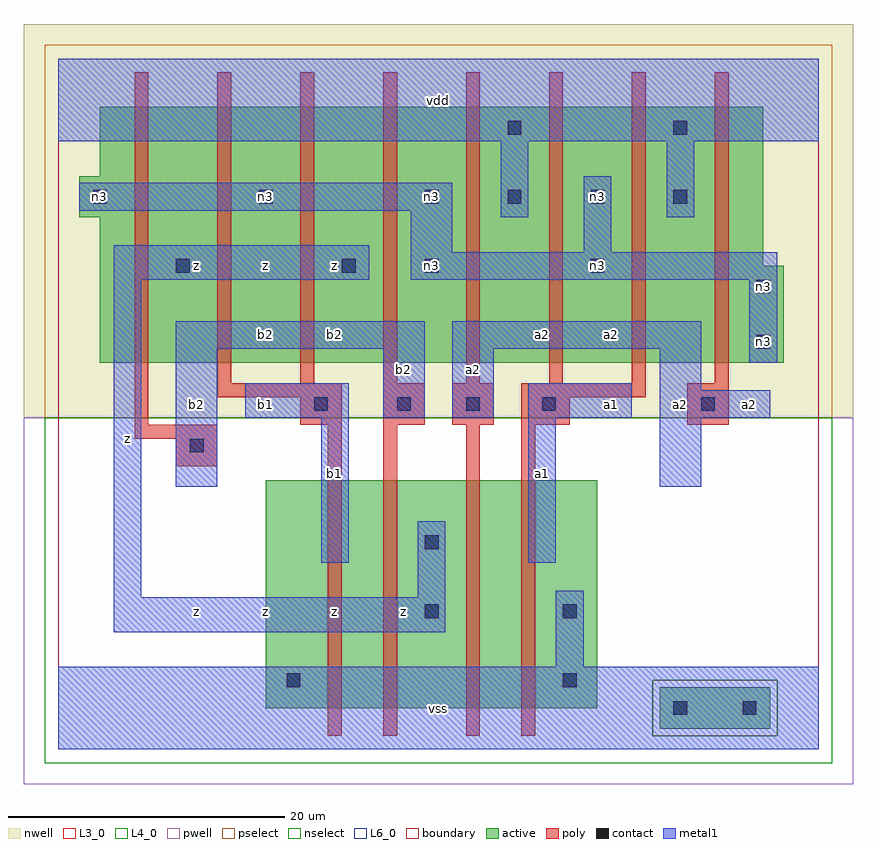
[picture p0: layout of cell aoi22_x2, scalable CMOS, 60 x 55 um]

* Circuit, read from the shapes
.subckt aoi22_x2 a1 a2 b1 b2 n3 vdd vss z
M1 n1 b1 vss vss nfet w=16.5u l=1u
M2 z b2 n1 vss nfet w=16.5u l=1u
M3 n2 a2 z vss nfet w=16.5u l=1u
M4 vss a1 n2 vss nfet w=16.5u l=1u
M5 z b2 n3 n4 pfet w=18.5u l=1u m=2
M6 n3 b1 z n4 pfet w=18.5u l=1u m=2
M7 vdd a2 n3 n4 pfet w=18.5u l=1u m=2
M8 n3 a1 vdd n4 pfet w=18.5u l=1u m=2
.ends

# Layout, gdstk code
import gdstk
lib = gdstk.Library(unit=1e-6, precision=1e-09)
def R(c, l, rs):  # rectangles x0, y0, x1, y1
    for r in rs: c.add(gdstk.rectangle(r[:2], r[2:], *l))
def A(c, l, x, y, w, h, nx, ny, dx, dy):  # array of equal rectangles
    R(c, l, [(x+i*dx, y+j*dy, x+i*dx+w, y+j*dy+h) for i in range(nx) for j in range(ny)])
L3_0 = (3, 0)
L4_0 = (4, 0)
L6_0 = (6, 0)
contact = (25, 0)
pwell = (41, 0)
nwell = (42, 0)
active = (43, 0)
pselect = (44, 0)
nselect = (45, 0)
poly = (46, 0)
metal1 = (49, 0)
boundary = (63, 0)

aoi22_x2 = lib.new_cell('aoi22_x2')
R(aoi22_x2, L3_0, [(15,3,39,19.5)])
R(aoi22_x2, L4_0, [(3,28,52.5,35), (3,35,51,38.5), (1.5,38.5,51,41.5), (3,41.5,51,46.5)])
R(aoi22_x2, L6_0, [(43.5,1.5,51.5,4.5)])
A(aoi22_x2, contact, 2.5, 39.5, 1, 1, 3, 1, 12, 0)
A(aoi22_x2, contact, 32.5, 39.5, 1, 1, 3, 1, 6, 0)
R(aoi22_x2, contact, [(44.5,2.5,45.5,3.5), (49.5,2.5,50.5,3.5), (16.5,4.5,17.5,5.5), (36.5,4.5,37.5,5.5), (26.5,9.5,27.5,10.5), (36.5,9.5,37.5,10.5), (26.5,14.5,27.5,15.5), (9.5,21.5,10.5,22.5), (18.5,24.5,19.5,25.5), (24.5,24.5,25.5,25.5), (29.5,24.5,30.5,25.5), (35,24.5,36,25.5), (46.5,24.5,47.5,25.5), (50.5,29,51.5,30), (50.5,33,51.5,34), (8.5,34.5,9.5,35.5), (20.5,34.5,21.5,35.5), (26.5,34.5,27.5,35.5), (38.5,34.5,39.5,35.5), (32.5,44.5,33.5,45.5), (44.5,44.5,45.5,45.5)])
R(aoi22_x2, pwell, [(-2.5,-2.5,57.5,24)])
R(aoi22_x2, nwell, [(-2.5,24,57.5,52.5)])
R(aoi22_x2, active, [(43.5,1.5,51.5,4.5), (15,3,39,19.5), (3,28,52.5,35), (3,35,51,38.5), (1.5,38.5,51,41.5), (3,41.5,51,46.5)])
R(aoi22_x2, pselect, [(43,1,52,5), (-1,24,56,51)])
R(aoi22_x2, nselect, [(-1,-1,56,1), (-1,1,43,5), (52,1,56,5), (-1,5,56,24)])
A(aoi22_x2, poly, 11.5, 26.5, 1, 22.5, 7, 1, 6, 0)
R(aoi22_x2, poly, [(19.5,1,20.5,23.5), (23.5,1,24.5,23.5), (29.5,1,30.5,23.5), (33.5,1,34.5,23.5), (8.5,20.5,11.5,22.5), (5.5,22.5,11.5,23.5), (5.5,23.5,6.5,49), (17.5,23.5,20.5,25.5), (23.5,23.5,26.5,26.5), (28.5,23.5,31.5,26.5), (33.5,23.5,37,25.5), (45.5,23.5,48.5,26.5), (11.5,25.5,20.5,26.5), (33.5,25.5,42.5,26.5)])
R(aoi22_x2, metal1, [(0,0,55,6), (0,0,55,6), (36,6,38,11.5), (36,6,38,11.5), (4,8.5,28,11), (4,8.5,28,11), (4,11,6,34), (4,11,6,34), (26,11,28,16.5), (26,11,28,16.5), (19,13.5,21,24), (19,13.5,21,24), (34,13.5,36,24), (34,13.5,36,24), (8.5,19,11.5,29), (8.5,19,11.5,29), (43.5,19,46.5,24), (43.5,19,46.5,24), (13.5,24,21,26.5), (13.5,24,21,26.5), (23.5,24,26.5,29), (23.5,24,26.5,29), (28.5,24,31.5,29), (28.5,24,31.5,29), (34,24,41.5,26.5), (34,24,41.5,26.5), (43.5,24,51.5,26), (43.5,24,51.5,26), (43.5,26,46.5,29), (43.5,26,46.5,29), (50,28,52,34), (50,28,52,34), (8.5,29,26.5,31), (8.5,29,26.5,31), (28.5,29,46.5,31), (28.5,29,46.5,31), (4,34,22.5,36.5), (4,34,22.5,36.5), (25.5,34,52,36), (25.5,34,52,36), (25.5,36,28.5,39), (25.5,36,28.5,39), (38,36,40,41.5), (38,36,40,41.5), (32,38.5,34,44), (32,38.5,34,44), (44,38.5,46,44), (44,38.5,46,44), (1.5,39,28.5,41), (1.5,39,28.5,41), (0,44,55,50), (0,44,55,50)])
R(aoi22_x2, boundary, [(0,0,55,50)])
aoi22_x2.add(gdstk.Label('n3', (3,40), layer=49, texttype=0))
aoi22_x2.add(gdstk.Label('n3', (15,40), layer=49, texttype=0))
aoi22_x2.add(gdstk.Label('n3', (27,35), layer=49, texttype=0))
aoi22_x2.add(gdstk.Label('n3', (27,40), layer=49, texttype=0))
aoi22_x2.add(gdstk.Label('n3', (51,33.5), layer=49, texttype=0))
aoi22_x2.add(gdstk.Label('n3', (51,29.5), layer=49, texttype=0))
aoi22_x2.add(gdstk.Label('n3', (39,35), layer=49, texttype=0))
aoi22_x2.add(gdstk.Label('n3', (39,40), layer=49, texttype=0))
aoi22_x2.add(gdstk.Label('z', (5,22.5), layer=49, texttype=0))
aoi22_x2.add(gdstk.Label('z', (20,10), layer=49, texttype=0))
aoi22_x2.add(gdstk.Label('z', (15,10), layer=49, texttype=0))
aoi22_x2.add(gdstk.Label('z', (10,10), layer=49, texttype=0))
aoi22_x2.add(gdstk.Label('b1', (20,20), layer=49, texttype=0))
aoi22_x2.add(gdstk.Label('b2', (10,25), layer=49, texttype=0))
aoi22_x2.add(gdstk.Label('b1', (15,25), layer=49, texttype=0))
aoi22_x2.add(gdstk.Label('b2', (20,30), layer=49, texttype=0))
aoi22_x2.add(gdstk.Label('b2', (15,30), layer=49, texttype=0))
aoi22_x2.add(gdstk.Label('z', (10,35), layer=49, texttype=0))
aoi22_x2.add(gdstk.Label('z', (20,35), layer=49, texttype=0))
aoi22_x2.add(gdstk.Label('z', (15,35), layer=49, texttype=0))
aoi22_x2.add(gdstk.Label('vss', (27.5,3), layer=49, texttype=0))
aoi22_x2.add(gdstk.Label('z', (25,10), layer=49, texttype=0))
aoi22_x2.add(gdstk.Label('b2', (25,27.5), layer=49, texttype=0))
aoi22_x2.add(gdstk.Label('a2', (30,27.5), layer=49, texttype=0))
aoi22_x2.add(gdstk.Label('vdd', (27.5,47), layer=49, texttype=0))
aoi22_x2.add(gdstk.Label('a1', (35,20), layer=49, texttype=0))
aoi22_x2.add(gdstk.Label('a1', (40,25), layer=49, texttype=0))
aoi22_x2.add(gdstk.Label('a2', (40,30), layer=49, texttype=0))
aoi22_x2.add(gdstk.Label('a2', (35,30), layer=49, texttype=0))
aoi22_x2.add(gdstk.Label('a2', (45,25), layer=49, texttype=0))
aoi22_x2.add(gdstk.Label('a2', (50,25), layer=49, texttype=0))

lib.write_gds('aoi22_x2.gds')
